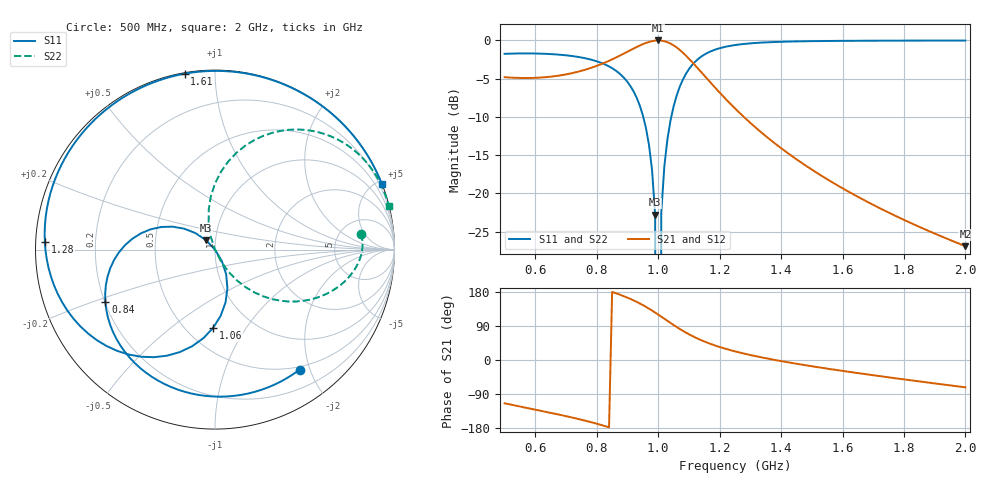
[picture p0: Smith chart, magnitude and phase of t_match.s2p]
! https://github.com/szoftveres
# Hz S RI R 50
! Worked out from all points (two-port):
!   151 points, 500 MHz to 2 GHz, reference 50 ohm
!   highest |S21| = 0.00 dB at 1 GHz (marker M1); lowest = -26.9 dB at 2 GHz (marker M2)
!   |S21| within 3 dB of the highest: 820.2 MHz to 1.115 GHz (294.3 MHz wide, 30.4 % of centre)
!   lowest |S11| = -22.8 dB at 990 MHz (marker M3), VSWR 1.16, Z = 45 + j4.76 ohm
!   |S11| at or under -10 dB: 951.4 MHz to 1.043 GHz (91.2 MHz wide, 9.15 % of centre)
!   |S22| runs from - to 0.0 dB; largest |S21 - S12| = 0
!   S11 on the Smith chart (normalised r, x): 500 MHz: 0.46, -1.84; 840 MHz: 0.20, -0.22; 1.06 GHz: 0.67, -0.72; 1.28 GHz: 0.03, +0.02; 1.61 GHz: 0.00, +0.84; 2 GHz: 0.01, +5.25
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5e8  0.471 -0.6688  -0.237 -0.5242  -0.237 -0.5242  0.8132 0.088
6.3e8  -0.0155 -0.8182  -0.4133 -0.3994  -0.4133 -0.3994  0.8183 -0.0124
7.5e8  -0.4476 -0.6314  -0.5855 -0.2412  -0.5855 -0.2412  0.7625 -0.1329
8.4e8  -0.611 -0.2903  -0.7359 -0.0291  -0.7359 -0.0291  0.6321 -0.2411
9e8  -0.5353 -0.0154  -0.8137 0.2259  -0.8137 0.2259  0.4508 -0.2892
9.5e8  -0.2991 0.1261  -0.7739 0.5439  -0.7739 0.5439  0.2199 -0.2387
9.7e8  -0.1718 0.1167  -0.6981 0.6852  -0.6981 0.6852  0.1199 -0.1696
9.9e8  -0.0502 0.0526  -0.5768 0.8137  -0.5768 0.8137  0.033 -0.0648
1e9  -0 0  -0.4996 0.8663  -0.4996 0.8663  0 -0
1.01e9  0.0385 -0.0643  -0.4134 0.9074  -0.4134 0.9074  -0.0233 0.0712
1.03e9  0.0692 -0.2152  -0.2254 0.9477  -0.2254 0.9477  -0.0351 0.2233
1.06e9  -0.0102 -0.4359  0.0454 0.8988  0.0454 0.8988  0.0338 0.4347
1.09e9  -0.1965 -0.5712  0.2416 0.7594  0.2416 0.7594  0.1696 0.5797
1.13e9  -0.4795 -0.5849  0.3674 0.5413  0.3674 0.5413  0.3666 0.6616
1.19e9  -0.7882 -0.3854  0.3834 0.2885  0.3834 0.2885  0.5887 0.6506
1.25e9  -0.9277 -0.1005  0.3315 0.1392  0.3315 0.1392  0.7213 0.592
1.28e9  -0.9482 0.0435  0.3014 0.091  0.3014 0.091  0.7655 0.5612
1.38e9  -0.8564 0.4707  0.2123 0.000203  0.2123 0.000203  0.8555 0.4723
1.5e9  -0.5454 0.8259  0.1374 -0.0406  0.1374 -0.0406  0.907 0.3961
1.61e9  -0.1686 0.98  0.0913 -0.0526  0.0913 -0.0526  0.9322 0.3463
1.75e9  0.3252 0.9427  0.0524 -0.0538  0.0524 -0.0538  0.9509 0.3002
2e9  0.9289 0.3674  0.0139 -0.0431  0.0139 -0.0431  0.9685 0.2449
